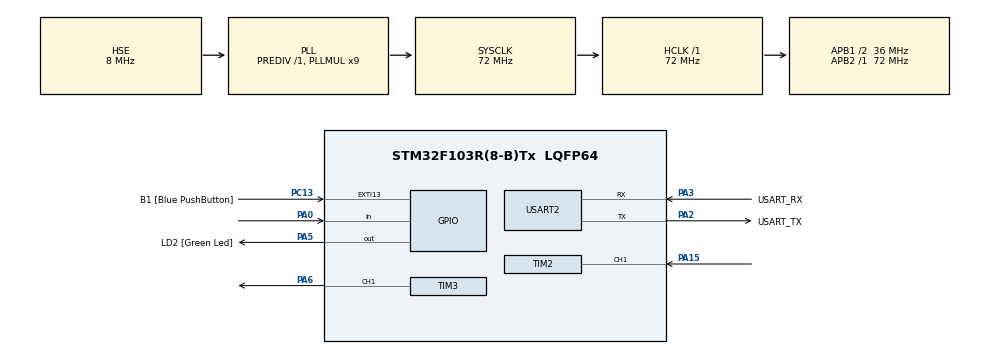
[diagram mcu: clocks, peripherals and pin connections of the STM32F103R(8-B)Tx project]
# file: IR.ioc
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Dma.Request0=TIM3_CH1/TRIG
Dma.TIM3_CH1/TRIG.0.Direction=DMA_PERIPH_TO_MEMORY
Dma.TIM3_CH1/TRIG.0.Instance=DMA1_Channel6
Dma.TIM3_CH1/TRIG.0.MemDataAlignment=DMA_MDATAALIGN_BYTE
Dma.TIM3_CH1/TRIG.0.MemInc=DMA_MINC_ENABLE
Dma.TIM3_CH1/TRIG.0.Mode=DMA_NORMAL
Dma.TIM3_CH1/TRIG.0.PeriphDataAlignment=DMA_PDATAALIGN_HALFWORD
Dma.TIM3_CH1/TRIG.0.PeriphInc=DMA_PINC_DISABLE
Dma.TIM3_CH1/TRIG.0.Priority=DMA_PRIORITY_LOW
Mcu.Family=STM32F1
Mcu.Name=STM32F103R(8-B)Tx
Mcu.Package=LQFP64
NVIC.DMA1_Channel6_IRQn=true\:0\:0\:false\:false\:true\:false\:true\:true
NVIC.EXTI15_10_IRQn=true\:0\:0\:false\:false\:true\:true\:true\:true
NVIC.PriorityGroup=NVIC_PRIORITYGROUP_4
NVIC.TIM2_IRQn=true\:0\:0\:false\:false\:true\:true\:true\:true
PA0-WKUP.Signal=GPIO_Input
PA13.GPIO_Label=TMS
PA13.Mode=Serial_Wire
PA13.Signal=SYS_JTMS-SWDIO
PA14.GPIO_Label=TCK
PA14.Mode=Serial_Wire
PA14.Signal=SYS_JTCK-SWCLK
PA15.Signal=S_TIM2_CH1_ETR
PA2.GPIO_Label=USART_TX
PA2.GPIO_Mode=GPIO_MODE_AF_PP
PA2.GPIO_PuPd=GPIO_NOPULL
PA2.GPIO_Speed=GPIO_SPEED_FREQ_LOW
PA2.Mode=Asynchronous
PA2.Signal=USART2_TX
PA3.GPIO_Label=USART_RX
PA3.GPIO_Mode=GPIO_MODE_AF_PP
PA3.GPIO_PuPd=GPIO_NOPULL
PA3.GPIO_Speed=GPIO_SPEED_FREQ_LOW
PA3.Mode=Asynchronous
PA3.Signal=USART2_RX
PA5.GPIO_Label=LD2 [Green Led]
PA5.GPIO_ModeDefaultOutputPP=GPIO_MODE_OUTPUT_PP
PA5.GPIO_PuPd=GPIO_NOPULL
PA5.GPIO_Speed=GPIO_SPEED_FREQ_LOW
PA5.Signal=GPIO_Output
PA6.Signal=S_TIM3_CH1
PB3.GPIO_Label=SWO
PB3.Signal=SYS_JTDO-TRACESWO
PC13-TAMPER-RTC.GPIO_Label=B1 [Blue PushButton]
PC13-TAMPER-RTC.GPIO_PuPd=GPIO_NOPULL
PC13-TAMPER-RTC.Signal=GPXTI13
PC14-OSC32_IN.Mode=LSE-External-Oscillator
PC14-OSC32_IN.Signal=RCC_OSC32_IN
PC15-OSC32_OUT.Mode=LSE-External-Oscillator
PC15-OSC32_OUT.Signal=RCC_OSC32_OUT
PD0-OSC_IN.Mode=HSE-External-Clock-Source
PD0-OSC_IN.Signal=RCC_OSC_IN
PD1-OSC_OUT.Mode=HSE-External-Clock-Source
PD1-OSC_OUT.Signal=RCC_OSC_OUT
ProjectManager.HeapSize=0x200
ProjectManager.StackSize=0x400
ProjectManager.TargetToolchain=STM32CubeIDE
RCC.AHBFreq_Value=72000000
RCC.APB1CLKDivider=RCC_HCLK_DIV2
RCC.APB1Freq_Value=36000000
RCC.APB1TimFreq_Value=72000000
RCC.APB2Freq_Value=72000000
RCC.APB2TimFreq_Value=72000000
RCC.HCLKFreq_Value=72000000
RCC.PLLMUL=RCC_PLL_MUL9
RCC.PLLSourceVirtual=RCC_PLLSOURCE_HSE
RCC.RTCClockSelection=RCC_RTCCLKSOURCE_LSE
RCC.SYSCLKFreq_VALUE=72000000
RCC.SYSCLKSource=RCC_SYSCLKSOURCE_PLLCLK
RCC.USBFreq_Value=72000000
SH.S_TIM2_CH1_ETR.0=TIM2_CH1,TriggerSource_TI1ED
SH.S_TIM2_CH1_ETR.1=TIM2_CH1,Input_Capture1_from_TI1
SH.S_TIM3_CH1.0=TIM3_CH1,PWM Generation1 CH1
TIM2.Channel-Input_Capture1_from_TI1=TIM_CHANNEL_1
TIM2.ICPolarity_CH1=TIM_INPUTCHANNELPOLARITY_FALLING
TIM2.Prescaler=71
TIM3.Channel-PWM\ Generation1\ CH1=TIM_CHANNEL_1
TIM3.Period=99
USART2.VirtualMode=VM_ASYNC
VP_TIM2_VS_ClockSourceINT.Mode=Internal
VP_TIM2_VS_ControllerModeReset.Mode=Reset Mode
VP_TIM3_VS_ClockSourceINT.Mode=Internal
board=NUCLEO-F103RB

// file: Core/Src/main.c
/* USER CODE BEGIN Header */
/**
  ******************************************************************************
  * @file           : main.c
  * @brief          : Main program body
  ******************************************************************************
  * @attention
  *
  * Copyright (c) 2022 STMicroelectronics.
  * All rights reserved.
  *
  * This software is licensed under terms that can be found in the LICENSE file
  * in the root directory of this software component.
  * If no LICENSE file comes with this software, it is provided AS-IS.
  *
  ******************************************************************************
  */
/* USER CODE END Header */
#include "main.h"
#include "dma.h"
#include "tim.h"
#include "usart.h"
#include "gpio.h"

/* USER CODE BEGIN Includes */
#include <stdio.h>
#include "ir.h"
/* USER CODE END Includes */

void SystemClock_Config(void);

/* USER CODE BEGIN 0 */
int __io_putchar(int ch)
{
  if (ch == '\n') {
    __io_putchar('\r');
  }

  HAL_UART_Transmit(&huart2, (uint8_t*)&ch, 1, HAL_MAX_DELAY);

  return 1;
}
/* USER CODE END 0 */

int main(void)
{

  /* MCU Configuration--------------------------------------------------------*/

  /* Reset of all peripherals, Initializes the Flash interface and the Systick. */
  HAL_Init();

  /* Configure the system clock */
  SystemClock_Config();

  /* Initialize all configured peripherals */
  MX_GPIO_Init();
  MX_DMA_Init();
  MX_USART2_UART_Init();
  MX_TIM2_Init();
  MX_TIM3_Init();

  /* Infinite loop */
  /* USER CODE BEGIN WHILE */
  void HAL_TIM_IC_CaptureCallback(TIM_HandleTypeDef *htim)
  {
    if (htim == &htim2)
    {
      switch (HAL_TIM_GetActiveChannel(&htim2))
      {
        case HAL_TIM_ACTIVE_CHANNEL_1:
          ir_tim_interrupt();
          break;
        default:
          break;
      }
    }
  }
  ir_init();

  while (1)
  {
    int value = ir_read();
    if (value != -1) {
        printf("code = %02x\n", value);
      }
    /* USER CODE END WHILE */

  }
}

void SystemClock_Config(void)
{
  RCC_OscInitTypeDef RCC_OscInitStruct = {0};
  RCC_ClkInitTypeDef RCC_ClkInitStruct = {0};

  /** Initializes the RCC Oscillators according to the specified parameters
  * in the RCC_OscInitTypeDef structure.
  */
  RCC_OscInitStruct.OscillatorType = RCC_OSCILLATORTYPE_HSE;
  RCC_OscInitStruct.HSEState = RCC_HSE_BYPASS;
  RCC_OscInitStruct.HSEPredivValue = RCC_HSE_PREDIV_DIV1;
  RCC_OscInitStruct.HSIState = RCC_HSI_ON;
  RCC_OscInitStruct.PLL.PLLState = RCC_PLL_ON;
  RCC_OscInitStruct.PLL.PLLSource = RCC_PLLSOURCE_HSE;
  RCC_OscInitStruct.PLL.PLLMUL = RCC_PLL_MUL9;
  if (HAL_RCC_OscConfig(&RCC_OscInitStruct) != HAL_OK)
  {
    Error_Handler();
  }

  /** Initializes the CPU, AHB and APB buses clocks
  */
  RCC_ClkInitStruct.ClockType = RCC_CLOCKTYPE_HCLK|RCC_CLOCKTYPE_SYSCLK
                              |RCC_CLOCKTYPE_PCLK1|RCC_CLOCKTYPE_PCLK2;
  RCC_ClkInitStruct.SYSCLKSource = RCC_SYSCLKSOURCE_PLLCLK;
  RCC_ClkInitStruct.AHBCLKDivider = RCC_SYSCLK_DIV1;
  RCC_ClkInitStruct.APB1CLKDivider = RCC_HCLK_DIV2;
  RCC_ClkInitStruct.APB2CLKDivider = RCC_HCLK_DIV1;

  if (HAL_RCC_ClockConfig(&RCC_ClkInitStruct, FLASH_LATENCY_2) != HAL_OK)
  {
    Error_Handler();
  }
}

void Error_Handler(void)
{
  __disable_irq();
  while (1)
  {
  }
}
